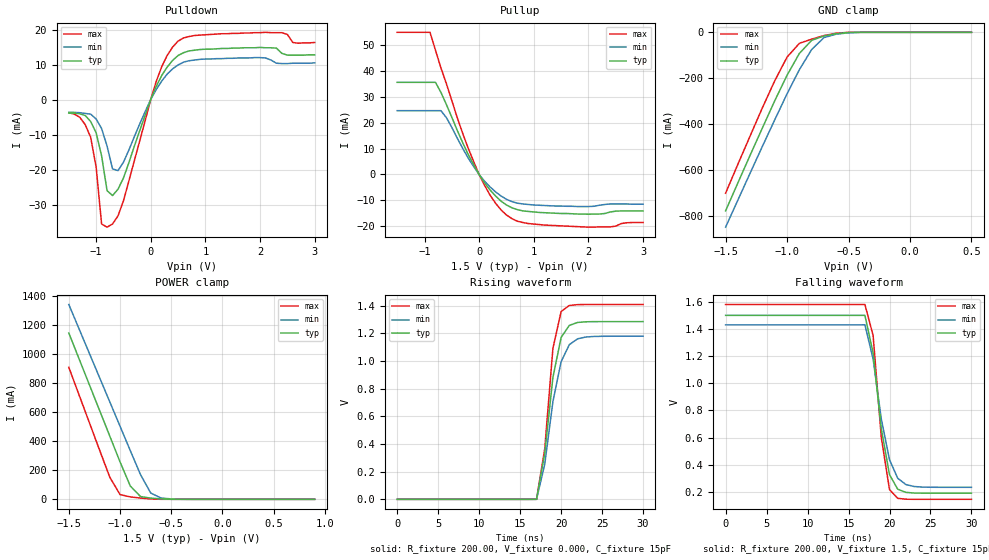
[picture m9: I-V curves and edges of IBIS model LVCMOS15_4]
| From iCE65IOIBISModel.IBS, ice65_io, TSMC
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|   Model LVCMOS15_4
[Model]   LVCMOS15_4
Model_type   I/O
Polarity   Non-Inverting
Enable   Active-High
Vinl =   0.35V
Vinh =   0.65V
Vmeas =   0.75V
Cref =  15.00pF
Rref =   1.00M
Vref =  0.000V
C_comp   1.30pF   1.17pF   1.43pF
[Temperature Range]   25.00   85   -40.00
[Voltage Range]   1.5V   1.43V   1.58V
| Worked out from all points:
|   slope of the pulldown table from 0 to 0.225 V, typ, clamps not added: 30.4 ohm
|   slope of the pullup table from 0 to 0.225 V, typ, clamps not added: 34.2 ohm
|   GND clamp passes 1 mA (typ) near -0.50 V on its own axis
|   POWER clamp passes 1 mA (typ) near -0.52 V on its own axis
|   rising waveform, R_fixture 200.00, V_fixture 0.000, C_fixture 15pF: 20-80 % time 1.73ns typ, 1.89ns min, 1.36ns max; typ from 0 V to 1.28 V
|   falling waveform, R_fixture 200.00, V_fixture 1.5, C_fixture 15pF: 20-80 % time 1.68ns typ, 1.93ns min, 1.36ns max; typ from 1.5 V to 0.19 V
[Pulldown]
| voltage I(typ) I(min) I(max)
-1.5V     -3.8mA     -3.6mA     -3.7mA
-1.3V     -4mA       -3.7mA     -5mA
-1.1V     -6.2mA     -4.1mA     -10.7mA
-1V       -9.4mA     -5.5mA     -19.2mA
-900mV    -16mA      -8.2mA     -35.4mA
-800mV    -25.9mA    -13.2mA    -36.3mA
-700mV    -27.3mA    -19.7mA    -35.4mA
-600mV    -25.5mA    -20.2mA    -33.1mA
100mV     3.8mA      2.9mA      5.2mA
500mV     12.6mA     9.9mA      16.7mA
2.1V      14.8mA     11.9mA     19.2mA
3V        12.8mA     10.5mA     16.3mA
[Pullup]
| voltage I(typ) I(min) I(max)
-1.5V     35.7mA     24.7mA     55.1mA
-900mV    35.7mA     24.7mA     55.1mA
-800mV    35.7mA     24.7mA     48.2mA
-700mV    31.8mA     24.7mA     41.3mA
-600mV    27.1mA     22mA       35.2mA
-100mV    3.7mA      3mA        4.9mA
200mV     -6.1mA     -4.9mA     -8.1mA
500mV     -11.9mA    -9.7mA     -15.8mA
700mV     -13.7mA    -11.2mA    -18.2mA
1.2V      -14.9mA    -12.1mA    -19.7mA
2.4V      -14.6mA    -11.5mA    -20.4mA
3V        -14.2mA    -11.6mA    -18.7mA
[GND_clamp]
| voltage I(typ) I(min) I(max)
-1.5V     -778mA     -849mA     -701mA
-1.2V     -416mA     -496mA     -328mA
-1.1V     -298mA     -381mA     -211mA
-1V       -187mA     -268mA     -108mA
-900mV    -92mA      -163mA     -48mA
-800mV    -35mA      -75mA      -30mA
-700mV    -16mA      -23mA      -14mA
-600mV    -6mA       -8mA       -4mA
-400mV    0A         0A         0A
500mV     0A         0A         0A
[POWER_clamp]
| voltage I(typ) I(min) I(max)
-1.5V     1.145A     1.342A     908.7mA
-1.1V     435.3mA    670.9mA    152.4mA
-1V       257.9mA    503.4mA    32.6mA
-900mV    91.8mA     335.8mA    16.7mA
-800mV    19.2mA     169.7mA    8.7mA
-700mV    8.2mA      43.1mA     2.7mA
-600mV    3mA        9mA        200uA
-500mV    400uA      2.9mA      0A
900mV     0A         0A         0A
[Ramp]
| variable   typ   min   max
dV/dt_r   0.77058/1.5n   0.70716/1.792n   0.84468/1.542n
dV/dt_f   0.786/1.881n   0.7182/2.26n   0.86106/1.471n
R_load = 200
[Rising Waveform]
R_fixture = 200.00
V_fixture = 0.000
V_fixture_min = 0.000
V_fixture_max = 0.000
L_fixture = 0.000H
C_fixture = 15pF
| time   V(typ)   V(min)   V(max)
0s        0V         0V         0V
17ns      300uV      300uV      0V
18ns      330.2mV    252.7mV    364.5mV
19ns      881.2mV    706.8mV    1.091V
20ns      1.17V      994.7mV    1.357V
21ns      1.257V     1.118V     1.401V
22ns      1.278V     1.159V     1.407V
23ns      1.283V     1.173V     1.408V
24ns      1.284V     1.177V     1.408V
30ns      1.284V     1.179V     1.408V
[Falling Waveform]
R_fixture = 200.00
V_fixture = 1.5
V_fixture_min = 1.43
V_fixture_max = 1.58
L_fixture = 0.000H
C_fixture = 15pF
| time   V(typ)   V(min)   V(max)
0s        1.5V       1.43V      1.58V
17ns      1.5V       1.43V      1.58V
18ns      1.222V     1.178V     1.352V
19ns      664.1mV    736.6mV    599.8mV
20ns      326.6mV    436.7mV    216.5mV
21ns      219.6mV    300.3mV    152.2mV
22ns      195.9mV    253.6mV    145.6mV
23ns      191.1mV    239.3mV    144.9mV
24ns      190.2mV    235mV      144.9mV
30ns      190mV      233.3mV    144.8mV
